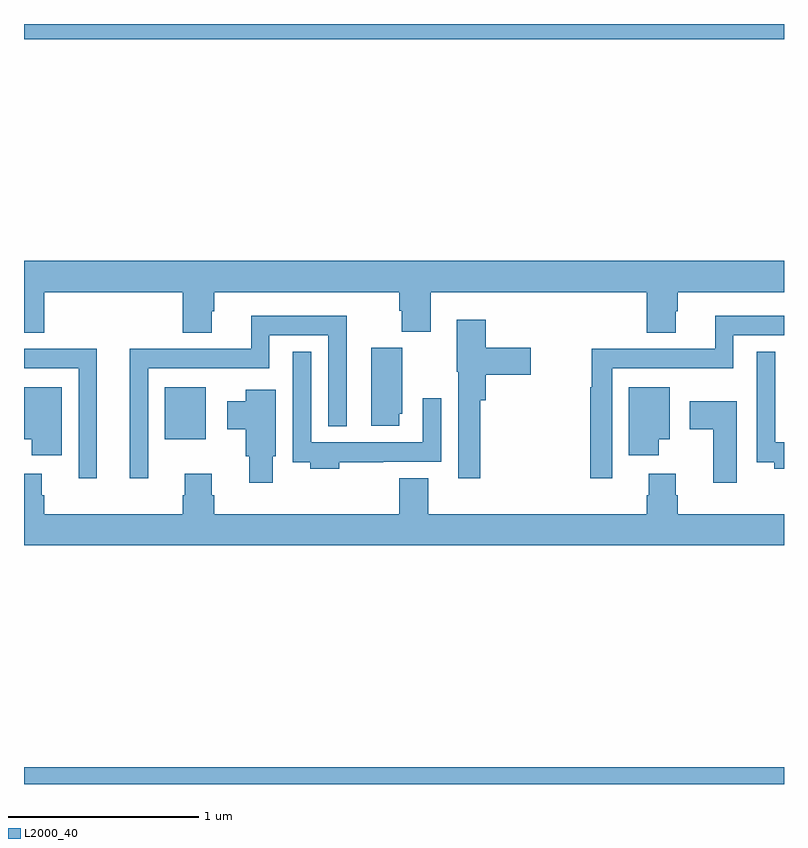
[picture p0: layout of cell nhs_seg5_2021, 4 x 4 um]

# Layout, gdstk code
import gdstk
lib = gdstk.Library(unit=1e-6, precision=1e-09)
def R(c, l, rs):  # rectangles x0, y0, x1, y1
    for r in rs: c.add(gdstk.rectangle(r[:2], r[2:], *l))
def P(c, l, *ps):  # polygons
    for p in ps: c.add(gdstk.Polygon(p, *l))
L2000_40 = (2000, 40)

nhs_seg5_2021 = lib.new_cell('nhs_seg5_2021')
R(nhs_seg5_2021, L2000_40, [(229,892.799,233,892.888), (229.742,894.614,229.957,894.886), (229,896.72,233,896.799)])
P(nhs_seg5_2021, L2000_40, [(229.106,895.388),(229.835,895.388),(229.835,895.175),(229.987,895.175),(229.987,895.287),(230,895.287),(230,895.388),(230.975,895.388),(230.975,895.289),(230.987,895.289),(230.987,895.18),(231.14,895.18),(231.14,895.388),(232.277,895.388),(232.277,895.175),(232.429,895.175),(232.429,895.287),(232.442,895.287),(232.442,895.388),(233,895.388),(233,895.552),(229,895.552),(229,895.175),(229.106,895.175)],
  [(229.653,894.986),(230.292,894.986),(230.292,895.16),(230.601,895.16),(230.601,894.683),(230.698,894.683),(230.698,895.264),(230.195,895.264),(230.195,895.09),(229.556,895.09),(229.556,894.408),(229.653,894.408)],
  [(232.095,894.986),(232.734,894.986),(232.734,895.16),(233,895.16),(233,895.264),(232.637,895.264),(232.637,895.09),(231.987,895.09),(231.987,894.886),(231.979,894.886),(231.979,894.408),(232.095,894.408)],
  [(231.401,894.818),(231.431,894.818),(231.431,894.953),(231.667,894.953),(231.667,895.095),(231.431,895.095),(231.431,895.243),(231.278,895.243),(231.278,894.969),(231.285,894.969),(231.285,894.408),(231.401,894.408)],
  [(230.974,894.747),(230.992,894.747),(230.992,895.095),(230.828,895.095),(230.828,894.684),(230.974,894.684)],
  [(229.384,895.09),(229,895.09),(229,894.986),(229.287,894.986),(229.287,894.408),(229.384,894.408)],
  [(230.66,894.492),(230.891,894.492),(230.891,894.494),(231.195,894.494),(231.195,894.829),(231.099,894.829),(231.099,894.598),(230.511,894.598),(230.511,895.075),(230.415,895.075),(230.415,894.492),(230.507,894.492),(230.507,894.458),(230.66,894.458)],
  [(233,894.598),(232.953,894.598),(232.953,895.075),(232.857,895.075),(232.857,894.492),(232.949,894.492),(232.949,894.458),(233,894.458)],
  [(229.198,894.886),(229,894.886),(229,894.614),(229.04,894.614),(229.04,894.528),(229.198,894.528)],
  [(232.342,894.614),(232.399,894.614),(232.399,894.886),(232.184,894.886),(232.184,894.528),(232.342,894.528)],
  [(230.308,894.525),(230.326,894.525),(230.326,894.874),(230.168,894.874),(230.168,894.814),(230.069,894.814),(230.069,894.667),(230.168,894.667),(230.168,894.525),(230.186,894.525),(230.186,894.384),(230.308,894.384)],
  [(232.75,894.814),(232.503,894.814),(232.503,894.667),(232.628,894.667),(232.628,894.384),(232.75,894.384)],
  [(233,894.22),(232.442,894.22),(232.442,894.318),(232.429,894.318),(232.429,894.433),(232.289,894.433),(232.289,894.318),(232.277,894.318),(232.277,894.22),(231.127,894.22),(231.127,894.409),(230.975,894.409),(230.975,894.22),(230,894.22),(230,894.318),(229.987,894.318),(229.987,894.433),(229.847,894.433),(229.847,894.318),(229.835,894.318),(229.835,894.22),(229.106,894.22),(229.106,894.318),(229.093,894.318),(229.093,894.433),(229,894.433),(229,894.056),(233,894.056)])

lib.write_gds('nhs_seg5_2021.gds')
